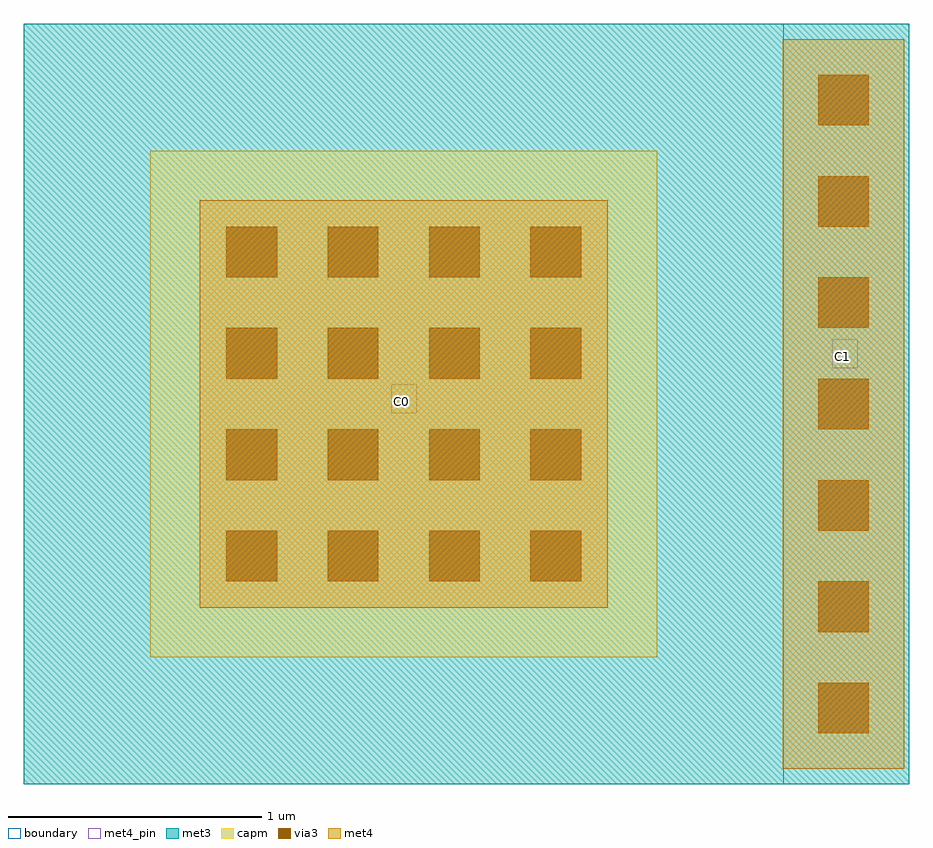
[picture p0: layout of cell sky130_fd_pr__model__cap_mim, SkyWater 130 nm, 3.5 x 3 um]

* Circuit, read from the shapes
.subckt sky130_fd_pr__model__cap_mim C0 C1
XC1 C0 C1 sky130_fd_pr__cap_mim_m3_1 w=2 l=2
.ends

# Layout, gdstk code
import gdstk
lib = gdstk.Library(unit=1e-6, precision=1e-09)
def R(c, l, rs):  # rectangles x0, y0, x1, y1
    for r in rs: c.add(gdstk.rectangle(r[:2], r[2:], *l))
def A(c, l, x, y, w, h, nx, ny, dx, dy):  # array of equal rectangles
    R(c, l, [(x+i*dx, y+j*dy, x+i*dx+w, y+j*dy+h) for i in range(nx) for j in range(ny)])
met3 = (70, 20)
via3 = (70, 44)
met4_pin = (71, 16)
met4 = (71, 20)
capm = (89, 44)
boundary = (235, 4)

sky130_fd_pr__model__cap = lib.new_cell('sky130_fd_pr__model__cap_mim')
R(sky130_fd_pr__model__cap, met3, [(-2.07,-2.07,1.425,0.93)])
A(sky130_fd_pr__model__cap, via3, 1.065, -1.87, 0.2, 0.2, 1, 7, 0, 0.4)
A(sky130_fd_pr__model__cap, via3, -1.27, -1.27, 0.2, 0.2, 4, 4, 0.4, 0.4)
R(sky130_fd_pr__model__cap, met4_pin, [(-0.62,-0.607,-0.519,-0.492), (1.121,-0.429,1.222,-0.314)])
R(sky130_fd_pr__model__cap, met4, [(0.925,-2.01,1.405,0.87), (-1.375,-1.375,0.235,0.235)])
R(sky130_fd_pr__model__cap, capm, [(-1.57,-1.57,0.43,0.43)])
R(sky130_fd_pr__model__cap, boundary, [(-2.07,-2.07,0.93,0.93)])
sky130_fd_pr__model__cap.add(gdstk.Label('C0', (-0.579,-0.561), layer=71, texttype=5))
sky130_fd_pr__model__cap.add(gdstk.Label('C1', (1.162,-0.383), layer=71, texttype=5))

lib.write_gds('sky130_fd_pr__model__cap_mim.gds')
